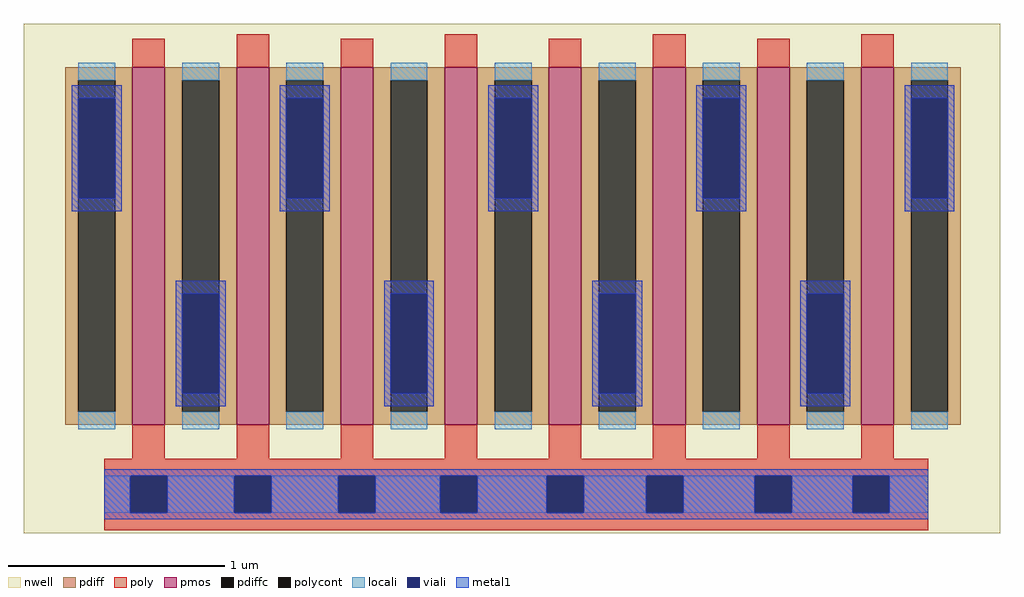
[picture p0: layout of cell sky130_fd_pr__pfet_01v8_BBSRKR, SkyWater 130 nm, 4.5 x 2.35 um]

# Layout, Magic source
magic
tech sky130A
magscale 1 2
<< nwell >>
rect -451 -265 449 205
<< pmos >>
rect -351 -165 -321 165
rect -255 -165 -225 165
rect -159 -165 -129 165
rect -63 -165 -33 165
rect 33 -165 63 165
rect 129 -165 159 165
rect 225 -165 255 165
rect 321 -165 351 165
<< pdiff >>
rect -413 153 -351 165
rect -413 -153 -401 153
rect -367 -153 -351 153
rect -413 -165 -351 -153
rect -321 153 -255 165
rect -321 -153 -305 153
rect -271 -153 -255 153
rect -321 -165 -255 -153
rect -225 153 -159 165
rect -225 -153 -209 153
rect -175 -153 -159 153
rect -225 -165 -159 -153
rect -129 153 -63 165
rect -129 -153 -113 153
rect -79 -153 -63 153
rect -129 -165 -63 -153
rect -33 153 33 165
rect -33 -153 -17 153
rect 17 -153 33 153
rect -33 -165 33 -153
rect 63 153 129 165
rect 63 -153 79 153
rect 113 -153 129 153
rect 63 -165 129 -153
rect 159 153 225 165
rect 159 -153 175 153
rect 209 -153 225 153
rect 159 -165 225 -153
rect 255 153 321 165
rect 255 -153 271 153
rect 305 -153 321 153
rect 255 -165 321 -153
rect 351 153 413 165
rect 351 -153 367 153
rect 401 -153 413 153
rect 351 -165 413 -153
<< pdiffc >>
rect -401 -153 -367 153
rect -305 -153 -271 153
rect -209 -153 -175 153
rect -113 -153 -79 153
rect -17 -153 17 153
rect 79 -153 113 153
rect 175 -153 209 153
rect 271 -153 305 153
rect 367 -153 401 153
<< poly >>
rect -351 165 -321 191
rect -255 165 -225 195
rect -159 165 -129 191
rect -63 165 -33 195
rect 33 165 63 191
rect 129 165 159 195
rect 225 165 255 191
rect 321 165 351 195
rect -351 -196 -321 -165
rect -255 -196 -225 -165
rect -159 -196 -129 -165
rect -63 -196 -33 -165
rect 33 -196 63 -165
rect 129 -196 159 -165
rect 225 -196 255 -165
rect 321 -196 351 -165
rect -377 -212 383 -196
rect -377 -246 -353 -212
rect -319 -246 -257 -212
rect -223 -246 -161 -212
rect -127 -246 -67 -212
rect -33 -246 31 -212
rect 65 -246 123 -212
rect 157 -246 223 -212
rect 257 -246 313 -212
rect 347 -246 383 -212
rect -377 -262 383 -246
<< polycont >>
rect -353 -246 -319 -212
rect -257 -246 -223 -212
rect -161 -246 -127 -212
rect -67 -246 -33 -212
rect 31 -246 65 -212
rect 123 -246 157 -212
rect 223 -246 257 -212
rect 313 -246 347 -212
<< locali >>
rect -401 153 -367 169
rect -401 -169 -367 -153
rect -305 153 -271 169
rect -305 -169 -271 -153
rect -209 153 -175 169
rect -209 -169 -175 -153
rect -113 153 -79 169
rect -113 -169 -79 -153
rect -17 153 17 169
rect -17 -169 17 -153
rect 79 153 113 169
rect 79 -169 113 -153
rect 175 153 209 169
rect 175 -169 209 -153
rect 271 153 305 169
rect 271 -169 305 -153
rect 367 153 401 169
rect 367 -169 401 -153
rect -377 -246 -353 -212
rect -319 -246 -257 -212
rect -223 -246 -161 -212
rect -127 -246 -67 -212
rect -33 -246 31 -212
rect 65 -246 123 -212
rect 157 -246 223 -212
rect 257 -246 313 -212
rect 347 -246 383 -212
<< viali >>
rect -401 44 -367 136
rect -305 -136 -271 -44
rect -209 44 -175 136
rect -113 -136 -79 -44
rect -17 44 17 136
rect 79 -136 113 -44
rect 175 44 209 136
rect 271 -136 305 -44
rect 367 44 401 136
rect -353 -246 -319 -212
rect -257 -246 -223 -212
rect -161 -246 -127 -212
rect -67 -246 -33 -212
rect 31 -246 65 -212
rect 123 -246 157 -212
rect 223 -246 257 -212
rect 313 -246 347 -212
<< metal1 >>
rect -407 136 -361 148
rect -407 44 -401 136
rect -367 44 -361 136
rect -407 32 -361 44
rect -215 136 -169 148
rect -215 44 -209 136
rect -175 44 -169 136
rect -215 32 -169 44
rect -23 136 23 148
rect -23 44 -17 136
rect 17 44 23 136
rect -23 32 23 44
rect 169 136 215 148
rect 169 44 175 136
rect 209 44 215 136
rect 169 32 215 44
rect 361 136 407 148
rect 361 44 367 136
rect 401 44 407 136
rect 361 32 407 44
rect -311 -44 -265 -32
rect -311 -136 -305 -44
rect -271 -136 -265 -44
rect -311 -148 -265 -136
rect -119 -44 -73 -32
rect -119 -136 -113 -44
rect -79 -136 -73 -44
rect -119 -148 -73 -136
rect 73 -44 119 -32
rect 73 -136 79 -44
rect 113 -136 119 -44
rect 73 -148 119 -136
rect 265 -44 311 -32
rect 265 -136 271 -44
rect 305 -136 311 -44
rect 265 -148 311 -136
rect -377 -212 383 -206
rect -377 -246 -353 -212
rect -319 -246 -257 -212
rect -223 -246 -161 -212
rect -127 -246 -67 -212
rect -33 -246 31 -212
rect 65 -246 123 -212
rect 157 -246 223 -212
rect 257 -246 313 -212
rect 347 -246 383 -212
rect -377 -252 383 -246
<< properties >>
string gencell sky130_fd_pr__pfet_01v8
string library sky130
string parameters w 1.65 l 0.15 m 1 nf 8 diffcov 100 polycov 100 guard 0 glc 1 grc 1 gtc 1 gbc 1 tbcov 100 rlcov 100 topc 1 botc 1 poverlap 0 doverlap 1 lmin 0.15 wmin 0.42 compatible {sky130_fd_pr__pfet_01v8  sky130_fd_pr__pfet_01v8_lvt sky130_fd_pr__pfet_01v8_hvt  sky130_fd_pr__pfet_g5v0d10v5} full_metal 0 viasrc +30 viadrn -30 viagate 100 viagb 0 viagr 0 viagl 0 viagt 0
<< end >>
